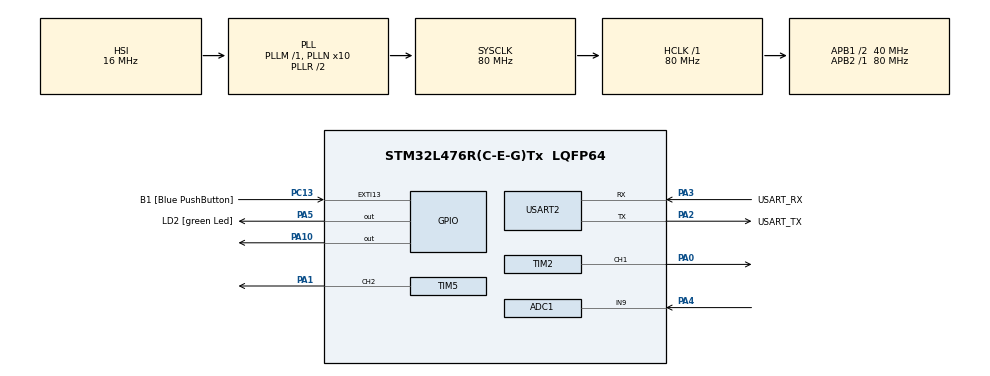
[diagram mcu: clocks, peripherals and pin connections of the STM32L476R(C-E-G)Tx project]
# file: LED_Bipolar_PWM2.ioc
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ADC1.Channel-0\#ChannelRegularConversion=ADC_CHANNEL_9
ADC1.NbrOfConversionFlag=1
ADC1.OffsetNumber-0\#ChannelRegularConversion=ADC_OFFSET_NONE
ADC1.Rank-0\#ChannelRegularConversion=1
ADC1.SamplingTime-0\#ChannelRegularConversion=ADC_SAMPLETIME_2CYCLES_5
ADC1.master=1
Mcu.Family=STM32L4
Mcu.Name=STM32L476R(C-E-G)Tx
Mcu.Package=LQFP64
NVIC.PriorityGroup=NVIC_PRIORITYGROUP_4
PA0.Signal=S_TIM2_CH1
PA1.Signal=S_TIM5_CH2
PA10.Signal=GPIO_Output
PA13\ (JTMS-SWDIO).GPIO_Label=TMS
PA13\ (JTMS-SWDIO).Mode=Serial_Wire
PA13\ (JTMS-SWDIO).Signal=SYS_JTMS-SWDIO
PA14\ (JTCK-SWCLK).GPIO_Label=TCK
PA14\ (JTCK-SWCLK).Mode=Serial_Wire
PA14\ (JTCK-SWCLK).Signal=SYS_JTCK-SWCLK
PA2.GPIO_Label=USART_TX
PA2.GPIO_Mode=GPIO_MODE_AF_PP
PA2.GPIO_PuPd=GPIO_NOPULL
PA2.GPIO_Speed=GPIO_SPEED_FREQ_VERY_HIGH
PA2.Mode=Asynchronous
PA2.Signal=USART2_TX
PA3.GPIO_Label=USART_RX
PA3.GPIO_Mode=GPIO_MODE_AF_PP
PA3.GPIO_PuPd=GPIO_NOPULL
PA3.GPIO_Speed=GPIO_SPEED_FREQ_VERY_HIGH
PA3.Mode=Asynchronous
PA3.Signal=USART2_RX
PA4.Signal=ADCx_IN9
PA5.GPIO_Label=LD2 [green Led]
PA5.GPIO_ModeDefaultOutputPP=GPIO_MODE_OUTPUT_PP
PA5.GPIO_PuPd=GPIO_NOPULL
PA5.GPIO_Speed=GPIO_SPEED_FREQ_LOW
PA5.Signal=GPIO_Output
PC13.GPIO_Label=B1 [Blue PushButton]
PC13.GPIO_ModeDefaultEXTI=GPIO_MODE_IT_FALLING
PC13.GPIO_PuPd=GPIO_NOPULL
PC13.Signal=GPXTI13
PC14-OSC32_IN\ (PC14).Mode=LSE-External-Oscillator
PC14-OSC32_IN\ (PC14).Signal=RCC_OSC32_IN
PC15-OSC32_OUT\ (PC15).Mode=LSE-External-Oscillator
PC15-OSC32_OUT\ (PC15).Signal=RCC_OSC32_OUT
PH0-OSC_IN\ (PH0).Mode=HSE-External-Oscillator
PH0-OSC_IN\ (PH0).Signal=RCC_OSC_IN
PH1-OSC_OUT\ (PH1).Mode=HSE-External-Oscillator
PH1-OSC_OUT\ (PH1).Signal=RCC_OSC_OUT
ProjectManager.HeapSize=0x200
ProjectManager.StackSize=0x400
ProjectManager.TargetToolchain=STM32CubeIDE
RCC.ADCFreq_Value=64000000
RCC.AHBFreq_Value=80000000
RCC.APB1CLKDivider=RCC_HCLK_DIV2
RCC.APB1Freq_Value=40000000
RCC.APB1TimFreq_Value=80000000
RCC.APB2Freq_Value=80000000
RCC.APB2TimFreq_Value=80000000
RCC.CortexFreq_Value=80000000
RCC.HCLKFreq_Value=80000000
RCC.HSE_VALUE=8000000
RCC.HSI_VALUE=16000000
RCC.MSI_VALUE=4000000
RCC.PLLN=10
RCC.PLLSourceVirtual=RCC_PLLSOURCE_HSI
RCC.PREFETCH_ENABLE=1
RCC.SYSCLKFreq_VALUE=80000000
RCC.SYSCLKSource=RCC_SYSCLKSOURCE_PLLCLK
RCC.USBFreq_Value=64000000
RCC.VCOOutputFreq_Value=160000000
SH.ADCx_IN9.0=ADC1_IN9,IN9-Single-Ended
SH.S_TIM2_CH1.0=TIM2_CH1,PWM Generation1 CH1
SH.S_TIM5_CH2.0=TIM5_CH2,PWM Generation2 CH2
TIM2.Channel-Output\ Compare2\ No\ Output=TIM_CHANNEL_2
TIM2.Channel-PWM\ Generation1\ CH1=TIM_CHANNEL_1
TIM2.OCMode_2=TIM_OCMODE_ACTIVE
TIM2.Period=9999
TIM2.Prescaler=319
TIM2.Pulse-Output\ Compare2\ No\ Output=2500
TIM2.Pulse-PWM\ Generation1\ CH1=5000
TIM2.TIM_MasterOutputTrigger=TIM_TRGO_OC2REF
TIM5.Channel-PWM\ Generation2\ CH2=TIM_CHANNEL_2
TIM5.Period=9999
TIM5.Prescaler=79
TIM5.Pulse-PWM\ Generation2\ CH2=5000
USART2.VirtualMode-Asynchronous=VM_ASYNC
VP_TIM2_VS_no_output2.Mode=Output Compare2 No Output
VP_TIM5_VS_ClockSourceITR.Mode=TriggerSource_ITR0
VP_TIM5_VS_ControllerModeTrigger.Mode=Trigger Mode
board=NUCLEO-L476RG

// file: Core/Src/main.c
/* USER CODE BEGIN Header */
/**
  ******************************************************************************
  * @file           : main.c
  * @brief          : Main program body
  ******************************************************************************
  * @attention
  *
  * Copyright (c) 2023 STMicroelectronics.
  * All rights reserved.
  *
  * This software is licensed under terms that can be found in the LICENSE file
  * in the root directory of this software component.
  * If no LICENSE file comes with this software, it is provided AS-IS.
  *
  ******************************************************************************
  */
/* USER CODE END Header */
#include "main.h"

/* USER CODE BEGIN Includes */
#include <string.h>		//adc
#include <stdio.h>		//adc
/* USER CODE END Includes */

ADC_HandleTypeDef hadc1;

TIM_HandleTypeDef htim2;
TIM_HandleTypeDef htim5;

UART_HandleTypeDef huart2;

void SystemClock_Config(void);
static void MX_GPIO_Init(void);
static void MX_USART2_UART_Init(void);
static void MX_TIM2_Init(void);
static void MX_TIM5_Init(void);
static void MX_ADC1_Init(void);

int main(void)
{
  /* USER CODE BEGIN 1 */
	  uint16_t raw;		//adc
	  char msg[10];		//adc
  /* USER CODE END 1 */

  /* MCU Configuration--------------------------------------------------------*/

  /* Reset of all peripherals, Initializes the Flash interface and the Systick. */
  HAL_Init();

  /* Configure the system clock */
  SystemClock_Config();

  /* Initialize all configured peripherals */
  MX_GPIO_Init();
  MX_USART2_UART_Init();
  MX_TIM2_Init();
  MX_TIM5_Init();
  MX_ADC1_Init();
  /* USER CODE BEGIN 2 */

  HAL_TIM_PWM_Start(&htim2, TIM_CHANNEL_1); 	//Start PWM output on Timer2, Channel1
  HAL_TIM_OC_Start(&htim2, TIM_CHANNEL_2);		//Start Output Compare on Timer2, Channel2

  HAL_TIM_PWM_Start(&htim5, TIM_CHANNEL_2);		//Start PWM output on Timer5, Channel2

  /* USER CODE END 2 */

  /* Infinite loop */
  /* USER CODE BEGIN WHILE */
  while (1)
  {

	  // Test: Set GPIO pin high
	      HAL_GPIO_WritePin(GPIOA, GPIO_PIN_10, GPIO_PIN_SET);	//adc

	      // Get ADC value
	      HAL_ADC_Start(&hadc1);	//adc
	      HAL_ADC_PollForConversion(&hadc1, HAL_MAX_DELAY);	//adc
	      raw = HAL_ADC_GetValue(&hadc1);	//adc

	      // Test: Set GPIO pin low
	      HAL_GPIO_WritePin(GPIOA, GPIO_PIN_10, GPIO_PIN_RESET);	//adc

	      // Convert to string and print
	      sprintf(msg, "%hu\r\n", raw);	//adc
	      HAL_UART_Transmit(&huart2, (uint8_t*)msg, strlen(msg), HAL_MAX_DELAY); //adc

	      // Pretend we have to do something else for a while
	      HAL_Delay(1);	//adc

    /* USER CODE END WHILE */

  }
}

void SystemClock_Config(void)
{
  RCC_OscInitTypeDef RCC_OscInitStruct = {0};
  RCC_ClkInitTypeDef RCC_ClkInitStruct = {0};

  /** Configure the main internal regulator output voltage
  */
  if (HAL_PWREx_ControlVoltageScaling(PWR_REGULATOR_VOLTAGE_SCALE1) != HAL_OK)
  {
    Error_Handler();
  }

  /** Initializes the RCC Oscillators according to the specified parameters
  * in the RCC_OscInitTypeDef structure.
  */
  RCC_OscInitStruct.OscillatorType = RCC_OSCILLATORTYPE_HSI;
  RCC_OscInitStruct.HSIState = RCC_HSI_ON;
  RCC_OscInitStruct.HSICalibrationValue = RCC_HSICALIBRATION_DEFAULT;
  RCC_OscInitStruct.PLL.PLLState = RCC_PLL_ON;
  RCC_OscInitStruct.PLL.PLLSource = RCC_PLLSOURCE_HSI;
  RCC_OscInitStruct.PLL.PLLM = 1;
  RCC_OscInitStruct.PLL.PLLN = 10;
  RCC_OscInitStruct.PLL.PLLP = RCC_PLLP_DIV7;
  RCC_OscInitStruct.PLL.PLLQ = RCC_PLLQ_DIV2;
  RCC_OscInitStruct.PLL.PLLR = RCC_PLLR_DIV2;
  if (HAL_RCC_OscConfig(&RCC_OscInitStruct) != HAL_OK)
  {
    Error_Handler();
  }

  /** Initializes the CPU, AHB and APB buses clocks
  */
  RCC_ClkInitStruct.ClockType = RCC_CLOCKTYPE_HCLK|RCC_CLOCKTYPE_SYSCLK
                              |RCC_CLOCKTYPE_PCLK1|RCC_CLOCKTYPE_PCLK2;
  RCC_ClkInitStruct.SYSCLKSource = RCC_SYSCLKSOURCE_PLLCLK;
  RCC_ClkInitStruct.AHBCLKDivider = RCC_SYSCLK_DIV1;
  RCC_ClkInitStruct.APB1CLKDivider = RCC_HCLK_DIV2;
  RCC_ClkInitStruct.APB2CLKDivider = RCC_HCLK_DIV1;

  if (HAL_RCC_ClockConfig(&RCC_ClkInitStruct, FLASH_LATENCY_4) != HAL_OK)
  {
    Error_Handler();
  }
}

static void MX_ADC1_Init(void)
{

  ADC_MultiModeTypeDef multimode = {0};
  ADC_ChannelConfTypeDef sConfig = {0};

  /** Common config
  */
  hadc1.Instance = ADC1;
  hadc1.Init.ClockPrescaler = ADC_CLOCK_ASYNC_DIV1;
  hadc1.Init.Resolution = ADC_RESOLUTION_12B;
  hadc1.Init.DataAlign = ADC_DATAALIGN_RIGHT;
  hadc1.Init.ScanConvMode = ADC_SCAN_DISABLE;
  hadc1.Init.EOCSelection = ADC_EOC_SINGLE_CONV;
  hadc1.Init.LowPowerAutoWait = DISABLE;
  hadc1.Init.ContinuousConvMode = DISABLE;
  hadc1.Init.NbrOfConversion = 1;
  hadc1.Init.DiscontinuousConvMode = DISABLE;
  hadc1.Init.ExternalTrigConv = ADC_SOFTWARE_START;
  hadc1.Init.ExternalTrigConvEdge = ADC_EXTERNALTRIGCONVEDGE_NONE;
  hadc1.Init.DMAContinuousRequests = DISABLE;
  hadc1.Init.Overrun = ADC_OVR_DATA_PRESERVED;
  hadc1.Init.OversamplingMode = DISABLE;
  if (HAL_ADC_Init(&hadc1) != HAL_OK)
  {
    Error_Handler();
  }

  /** Configure the ADC multi-mode
  */
  multimode.Mode = ADC_MODE_INDEPENDENT;
  if (HAL_ADCEx_MultiModeConfigChannel(&hadc1, &multimode) != HAL_OK)
  {
    Error_Handler();
  }

  /** Configure Regular Channel
  */
  sConfig.Channel = ADC_CHANNEL_9;
  sConfig.Rank = ADC_REGULAR_RANK_1;
  sConfig.SamplingTime = ADC_SAMPLETIME_2CYCLES_5;
  sConfig.SingleDiff = ADC_SINGLE_ENDED;
  sConfig.OffsetNumber = ADC_OFFSET_NONE;
  sConfig.Offset = 0;
  if (HAL_ADC_ConfigChannel(&hadc1, &sConfig) != HAL_OK)
  {
    Error_Handler();
  }

}

static void MX_TIM2_Init(void)
{

  TIM_MasterConfigTypeDef sMasterConfig = {0};
  TIM_OC_InitTypeDef sConfigOC = {0};

  htim2.Instance = TIM2;
  htim2.Init.Prescaler = 319;
  htim2.Init.CounterMode = TIM_COUNTERMODE_UP;
  htim2.Init.Period = 9999;
  htim2.Init.ClockDivision = TIM_CLOCKDIVISION_DIV1;
  htim2.Init.AutoReloadPreload = TIM_AUTORELOAD_PRELOAD_DISABLE;
  if (HAL_TIM_PWM_Init(&htim2) != HAL_OK)
  {
    Error_Handler();
  }
  if (HAL_TIM_OC_Init(&htim2) != HAL_OK)
  {
    Error_Handler();
  }
  sMasterConfig.MasterOutputTrigger = TIM_TRGO_OC2REF;
  sMasterConfig.MasterSlaveMode = TIM_MASTERSLAVEMODE_DISABLE;
  if (HAL_TIMEx_MasterConfigSynchronization(&htim2, &sMasterConfig) != HAL_OK)
  {
    Error_Handler();
  }
  sConfigOC.OCMode = TIM_OCMODE_PWM1;
  sConfigOC.Pulse = 5000;
  sConfigOC.OCPolarity = TIM_OCPOLARITY_HIGH;
  sConfigOC.OCFastMode = TIM_OCFAST_DISABLE;
  if (HAL_TIM_PWM_ConfigChannel(&htim2, &sConfigOC, TIM_CHANNEL_1) != HAL_OK)
  {
    Error_Handler();
  }
  sConfigOC.OCMode = TIM_OCMODE_ACTIVE;
  sConfigOC.Pulse = 2500;
  if (HAL_TIM_OC_ConfigChannel(&htim2, &sConfigOC, TIM_CHANNEL_2) != HAL_OK)
  {
    Error_Handler();
  }
  HAL_TIM_MspPostInit(&htim2);

}

static void MX_TIM5_Init(void)
{

  TIM_SlaveConfigTypeDef sSlaveConfig = {0};
  TIM_MasterConfigTypeDef sMasterConfig = {0};
  TIM_OC_InitTypeDef sConfigOC = {0};

  htim5.Instance = TIM5;
  htim5.Init.Prescaler = 79;
  htim5.Init.CounterMode = TIM_COUNTERMODE_UP;
  htim5.Init.Period = 9999;
  htim5.Init.ClockDivision = TIM_CLOCKDIVISION_DIV1;
  htim5.Init.AutoReloadPreload = TIM_AUTORELOAD_PRELOAD_DISABLE;
  if (HAL_TIM_Base_Init(&htim5) != HAL_OK)
  {
    Error_Handler();
  }
  if (HAL_TIM_PWM_Init(&htim5) != HAL_OK)
  {
    Error_Handler();
  }
  sSlaveConfig.SlaveMode = TIM_SLAVEMODE_TRIGGER;
  sSlaveConfig.InputTrigger = TIM_TS_ITR0;
  if (HAL_TIM_SlaveConfigSynchro(&htim5, &sSlaveConfig) != HAL_OK)
  {
    Error_Handler();
  }
  sMasterConfig.MasterOutputTrigger = TIM_TRGO_RESET;
  sMasterConfig.MasterSlaveMode = TIM_MASTERSLAVEMODE_DISABLE;
  if (HAL_TIMEx_MasterConfigSynchronization(&htim5, &sMasterConfig) != HAL_OK)
  {
    Error_Handler();
  }
  sConfigOC.OCMode = TIM_OCMODE_PWM1;
  sConfigOC.Pulse = 5000;
  sConfigOC.OCPolarity = TIM_OCPOLARITY_HIGH;
  sConfigOC.OCFastMode = TIM_OCFAST_DISABLE;
  if (HAL_TIM_PWM_ConfigChannel(&htim5, &sConfigOC, TIM_CHANNEL_2) != HAL_OK)
  {
    Error_Handler();
  }
  HAL_TIM_MspPostInit(&htim5);

}

static void MX_USART2_UART_Init(void)
{

  huart2.Instance = USART2;
  huart2.Init.BaudRate = 115200;
  huart2.Init.WordLength = UART_WORDLENGTH_8B;
  huart2.Init.StopBits = UART_STOPBITS_1;
  huart2.Init.Parity = UART_PARITY_NONE;
  huart2.Init.Mode = UART_MODE_TX_RX;
  huart2.Init.HwFlowCtl = UART_HWCONTROL_NONE;
  huart2.Init.OverSampling = UART_OVERSAMPLING_16;
  huart2.Init.OneBitSampling = UART_ONE_BIT_SAMPLE_DISABLE;
  huart2.AdvancedInit.AdvFeatureInit = UART_ADVFEATURE_NO_INIT;
  if (HAL_UART_Init(&huart2) != HAL_OK)
  {
    Error_Handler();
  }

}

static void MX_GPIO_Init(void)
{
  GPIO_InitTypeDef GPIO_InitStruct = {0};

  /* GPIO Ports Clock Enable */
  __HAL_RCC_GPIOC_CLK_ENABLE();
  __HAL_RCC_GPIOH_CLK_ENABLE();
  __HAL_RCC_GPIOA_CLK_ENABLE();

  /*Configure GPIO pin Output Level */
  HAL_GPIO_WritePin(GPIOA, LD2_Pin|GPIO_PIN_10, GPIO_PIN_RESET);

  /*Configure GPIO pin : B1_Pin */
  GPIO_InitStruct.Pin = B1_Pin;
  GPIO_InitStruct.Mode = GPIO_MODE_IT_FALLING;
  GPIO_InitStruct.Pull = GPIO_NOPULL;
  HAL_GPIO_Init(B1_GPIO_Port, &GPIO_InitStruct);

  /*Configure GPIO pins : LD2_Pin PA10 */
  GPIO_InitStruct.Pin = LD2_Pin|GPIO_PIN_10;
  GPIO_InitStruct.Mode = GPIO_MODE_OUTPUT_PP;
  GPIO_InitStruct.Pull = GPIO_NOPULL;
  GPIO_InitStruct.Speed = GPIO_SPEED_FREQ_LOW;
  HAL_GPIO_Init(GPIOA, &GPIO_InitStruct);

}

void Error_Handler(void)
{
  __disable_irq();
  while (1)
  {
  }
}
